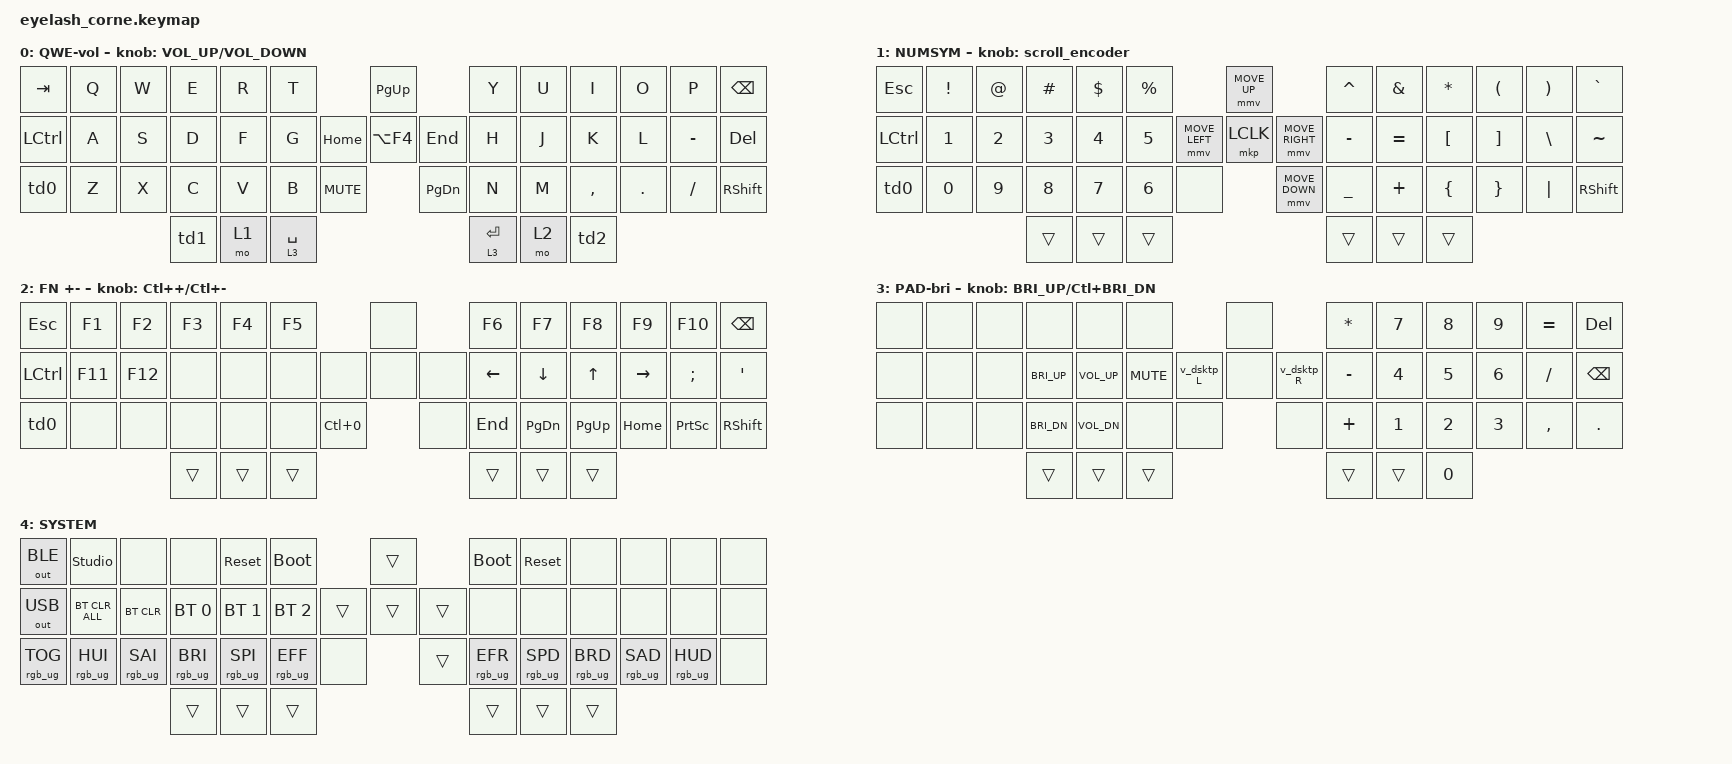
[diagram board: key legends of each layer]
#include <dt-bindings/zmk/mouse.h>
#include <input/processors.dtsi>
#include <behaviors.dtsi>
#include <dt-bindings/zmk/bt.h>
#include <dt-bindings/zmk/keys.h>
#include <dt-bindings/zmk/outputs.h>
#include <dt-bindings/zmk/pointing.h>
#include <dt-bindings/zmk/rgb.h>

/*

   &mmv_input_listener {
       input-processors = <&zip_xy_scaler 2 1>;
   };

   &msc_input_listener {
       input-processors = <&zip_xy_scaler 2 1>;
   };

 */

#define ZMK_MOUSE_DEFAULT_MOVE_VAL 1200  // 600
#define ZMK_MOUSE_DEFAULT_SCRL_VAL 20    // 10

/ {
    behaviors {
        td0: td0 {
            compatible = "zmk,behavior-tap-dance";
            display-name = "Shift/Caps Lock Tap Dance";
            #binding-cells = <0>;
            bindings = <&kp LEFT_SHIFT>, <&kp CAPS>;

            label = "SHIFT- CAPS";
        };

        td1: td1 {
            compatible = "zmk,behavior-tap-dance";
            display-name = "Shift/Caps Lock Tap Dance";
            #binding-cells = <0>;
            bindings = <&kp LEFT_GUI>, <&mo 4>;

            label = "win-4";
        };

        td2: td2 {
            compatible = "zmk,behavior-tap-dance";
            display-name = "Shift/Caps Lock Tap Dance";
            #binding-cells = <0>;
            bindings = <&kp RIGHT_ALT>, <&mo 4>;

            label = "alt-4";
        };
    };

    rgb_encoder: rgb_encoder {
        compatible = "zmk,behavior-sensor-rotate";
        #sensor-binding-cells = <0>;
        bindings = <&rgb_ug RGB_BRI>, <&rgb_ug RGB_BRD>;
    };

    scroll_encoder: scroll_encoder {
        compatible = "zmk,behavior-sensor-rotate";
        #sensor-binding-cells = <0>;
        bindings = <&msc SCRL_DOWN>, <&msc SCRL_UP>;

        tap-ms = <30>;
    };

    combos {
        compatible = "zmk,combos";

        sys_layer {
            bindings = <&mo 4>;
            key-positions = <44 45>;
            layers = <0>;
        };
    };

    macros {
        v_dsktp_R: lang5 {
            compatible = "zmk,behavior-macro";
            #binding-cells = <0>;
            bindings =
                <&macro_press>,
                <&kp LWIN &kp LCTRL>,
                <&macro_tap>,
                <&kp RIGHT_ARROW>,
                <&macro_release>,
                <&kp LWIN &kp LCTRL>;

            label = "LANG5";
        };

        v_dsktp_L: v_dsktp_L {
            compatible = "zmk,behavior-macro";
            #binding-cells = <0>;
            bindings =
                <&macro_press>,
                <&kp LWIN &kp LCTRL>,
                <&macro_tap>,
                <&kp LEFT_ARROW>,
                <&macro_release>,
                <&kp LWIN &kp LCTRL>;

            label = "V_DSKTP_L";
        };
    };

    keymap {
        compatible = "zmk,keymap";

        default_layer {
            display-name = "QWE-vol";
            bindings = <
&kp TAB    &kp Q  &kp W  &kp E  &kp R  &kp T                                &kp PG_UP            &kp Y        &kp U  &kp I      &kp O    &kp P      &kp BACKSPACE
&kp LCTRL  &kp A  &kp S  &kp D  &kp F  &kp G                      &kp HOME  &kp LA(F4)  &kp END  &kp H        &kp J  &kp K      &kp L    &kp MINUS  &kp DEL
&td0       &kp Z  &kp X  &kp C  &kp V  &kp B        &kp C_MUTE              &kp PG_DN            &kp N        &kp M  &kp COMMA  &kp DOT  &kp FSLH   &kp RSHFT
                         &td1   &mo 1  &lt 3 SPACE                                               &lt 3 ENTER  &mo 2  &td2
            >;

            sensor-bindings = <&inc_dec_kp C_VOLUME_UP C_VOLUME_DOWN>;
        };

        num_sym_layer {
            display-name = "NUMSYM";
            bindings = <
&kp ESC    &kp EXCL  &kp AT_SIGN  &kp HASH  &kp DOLLAR  &kp PERCENT                           &mmv MOVE_UP                     &kp CARET       &kp AMPS   &kp ASTRK  &kp LPAR           &kp RPAR       &kp GRAVE
&kp LCTRL  &kp N1    &kp N2       &kp N3    &kp N4      &kp N5                &mmv MOVE_LEFT  &mkp LCLK       &mmv MOVE_RIGHT  &kp MINUS       &kp EQUAL  &kp LBKT   &kp RIGHT_BRACKET  &kp BACKSLASH  &kp TILDE
&td0       &kp N0    &kp N9       &kp N8    &kp N7      &kp N6       &none                    &mmv MOVE_DOWN                   &kp UNDERSCORE  &kp PLUS   &kp LBRC   &kp RBRC           &kp PIPE       &kp RSHIFT
                                  &trans    &trans      &trans                                                                 &trans          &trans     &trans
            >;

            sensor-bindings = <&scroll_encoder>;
        };

        function_layer {
            display-name = "FN +-";
            bindings = <
&kp ESC    &kp F1   &kp F2   &kp F3  &kp F4  &kp F5                       &none         &kp F6          &kp F7          &kp F8        &kp F9           &kp F10          &kp BACKSPACE
&kp LCTRL  &kp F11  &kp F12  &none   &none   &none                 &none  &none  &none  &kp LEFT_ARROW  &kp DOWN_ARROW  &kp UP_ARROW  &kp RIGHT_ARROW  &kp SEMICOLON    &kp SQT
&td0       &none    &none    &none   &none   &none   &kp LC(N0)           &none         &kp END         &kp PAGE_DOWN   &kp PAGE_UP   &kp HOME         &kp PRINTSCREEN  &kp RSHIFT
                             &trans  &trans  &trans                                     &trans          &trans          &trans
            >;

            sensor-bindings = <&inc_dec_kp LC(PLUS) LC(MINUS)>;
        };

        keypad_layer {
            display-name = "PAD-bri";
            bindings = <
&none  &none  &none  &none         &none         &none                            &none              &kp ASTRK  &kp N7  &kp N8  &kp N9  &kp EQUAL  &kp DEL
&none  &none  &none  &kp C_BRI_UP  &kp C_VOL_UP  &kp C_MUTE           &v_dsktp_L  &none  &v_dsktp_R  &kp MINUS  &kp N4  &kp N5  &kp N6  &kp SLASH  &kp BACKSPACE
&none  &none  &none  &kp C_BRI_DN  &kp C_VOL_DN  &none       &none                &none              &kp PLUS   &kp N1  &kp N2  &kp N3  &kp COMMA  &kp DOT
                     &trans        &trans        &trans                                              &trans     &trans  &kp N0
            >;

            sensor-bindings = <&inc_dec_kp C_BRI_UP LC(C_BRI_DN)>;
        };

        system_layer {
            display-name = "SYSTEM";
            bindings = <
&out OUT_BLE     &studio_unlock   &none            &none            &sys_reset       &bootloader                       &trans          &bootloader      &sys_reset       &none            &none            &none            &none
&out OUT_USB     &bt BT_CLR_ALL   &bt BT_CLR       &bt BT_SEL 0     &bt BT_SEL 1     &bt BT_SEL 2              &trans  &trans  &trans  &none            &none            &none            &none            &none            &none
&rgb_ug RGB_TOG  &rgb_ug RGB_HUI  &rgb_ug RGB_SAI  &rgb_ug RGB_BRI  &rgb_ug RGB_SPI  &rgb_ug RGB_EFF  &none            &trans          &rgb_ug RGB_EFR  &rgb_ug RGB_SPD  &rgb_ug RGB_BRD  &rgb_ug RGB_SAD  &rgb_ug RGB_HUD  &none
                                                   &trans           &trans           &trans                                            &trans           &trans           &trans
            >;
        };
    };
};
